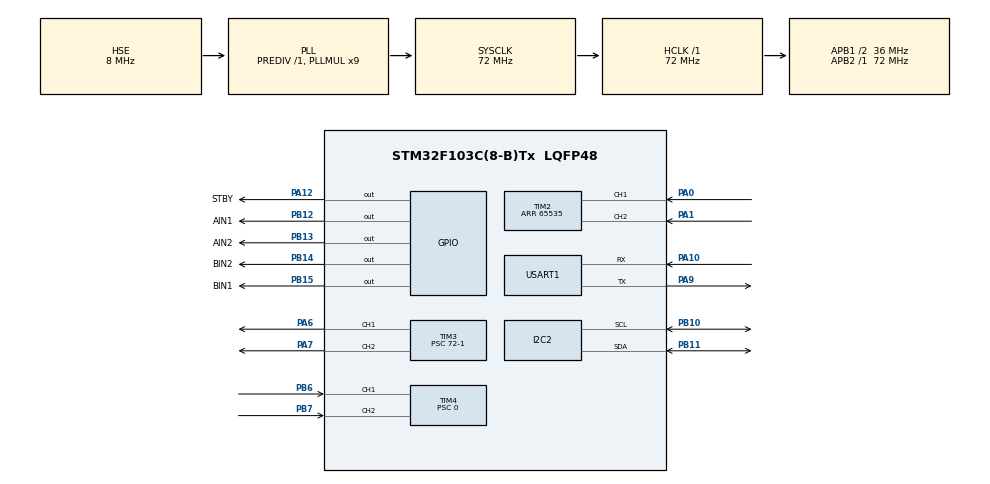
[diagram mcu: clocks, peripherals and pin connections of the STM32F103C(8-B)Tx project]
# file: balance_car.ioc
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I2C2.I2C_Mode=I2C_Fast
Mcu.Family=STM32F1
Mcu.Name=STM32F103C(8-B)Tx
Mcu.Package=LQFP48
NVIC.PriorityGroup=NVIC_PRIORITYGROUP_4
NVIC.TIM2_IRQn=true\:0\:0\:false\:false\:true\:true\:true\:true
NVIC.TIM3_IRQn=true\:1\:0\:true\:false\:true\:true\:true\:true
NVIC.TIM4_IRQn=true\:0\:0\:true\:false\:true\:true\:true\:true
PA0-WKUP.GPIO_PuPd=GPIO_PULLUP
PA0-WKUP.Signal=S_TIM2_CH1_ETR
PA1.GPIO_PuPd=GPIO_PULLUP
PA1.Signal=S_TIM2_CH2
PA10.Mode=Asynchronous
PA10.Signal=USART1_RX
PA12.GPIO_Label=STBY
PA12.Signal=GPIO_Output
PA13.Mode=Serial_Wire
PA13.Signal=SYS_JTMS-SWDIO
PA14.Mode=Serial_Wire
PA14.Signal=SYS_JTCK-SWCLK
PA6.Signal=S_TIM3_CH1
PA7.Signal=S_TIM3_CH2
PA9.Mode=Asynchronous
PA9.Signal=USART1_TX
PB10.Mode=I2C
PB10.Signal=I2C2_SCL
PB11.Mode=I2C
PB11.Signal=I2C2_SDA
PB12.GPIO_Label=AIN1
PB12.Signal=GPIO_Output
PB13.GPIO_Label=AIN2
PB13.Signal=GPIO_Output
PB14.GPIO_Label=BIN2
PB14.Signal=GPIO_Output
PB15.GPIO_Label=BIN1
PB15.Signal=GPIO_Output
PB6.GPIO_PuPd=GPIO_PULLUP
PB6.Signal=S_TIM4_CH1
PB7.GPIO_PuPd=GPIO_PULLUP
PB7.Signal=S_TIM4_CH2
PC14-OSC32_IN.Mode=LSE-External-Oscillator
PC14-OSC32_IN.Signal=RCC_OSC32_IN
PC15-OSC32_OUT.Mode=LSE-External-Oscillator
PC15-OSC32_OUT.Signal=RCC_OSC32_OUT
PD0-OSC_IN.Mode=HSE-External-Oscillator
PD0-OSC_IN.Signal=RCC_OSC_IN
PD1-OSC_OUT.Mode=HSE-External-Oscillator
PD1-OSC_OUT.Signal=RCC_OSC_OUT
ProjectManager.HeapSize=0x200
ProjectManager.StackSize=0x400
ProjectManager.TargetToolchain=MDK-ARM V5.32
RCC.AHBFreq_Value=72000000
RCC.APB1CLKDivider=RCC_HCLK_DIV2
RCC.APB1Freq_Value=36000000
RCC.APB1TimFreq_Value=72000000
RCC.APB2Freq_Value=72000000
RCC.APB2TimFreq_Value=72000000
RCC.HCLKFreq_Value=72000000
RCC.PLLMUL=RCC_PLL_MUL9
RCC.PLLSourceVirtual=RCC_PLLSOURCE_HSE
RCC.SYSCLKFreq_VALUE=72000000
RCC.SYSCLKSource=RCC_SYSCLKSOURCE_PLLCLK
RCC.USBFreq_Value=72000000
SH.S_TIM2_CH1_ETR.0=TIM2_CH1,Encoder_Interface
SH.S_TIM2_CH2.0=TIM2_CH2,Encoder_Interface
SH.S_TIM3_CH1.0=TIM3_CH1,PWM Generation1 CH1
SH.S_TIM3_CH2.0=TIM3_CH2,PWM Generation2 CH2
SH.S_TIM4_CH1.0=TIM4_CH1,Encoder_Interface
SH.S_TIM4_CH2.0=TIM4_CH2,Encoder_Interface
TIM1.Period=1000-1
TIM1.Prescaler=720-1
TIM2.EncoderMode=TIM_ENCODERMODE_TI1
TIM2.IC1Filter=15
TIM2.IC2Filter=15
TIM2.Period=65535
TIM3.Channel-PWM\ Generation1\ CH1=TIM_CHANNEL_1
TIM3.Channel-PWM\ Generation2\ CH2=TIM_CHANNEL_2
TIM3.Period=10000-1
TIM3.Prescaler=72-1
TIM3.Pulse-PWM\ Generation1\ CH1=0
TIM4.EncoderMode=TIM_ENCODERMODE_TI1
TIM4.IC1Filter=15
TIM4.IC2Filter=15
TIM4.Period=65535
TIM4.Prescaler=0
USART1.VirtualMode=VM_ASYNC
VP_TIM1_VS_ClockSourceINT.Mode=Internal
VP_TIM3_VS_ClockSourceINT.Mode=Internal
board=custom

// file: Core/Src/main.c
/* USER CODE BEGIN Header */
/**
  ******************************************************************************
  * @file           : main.c
  * @brief          : Main program body
  ******************************************************************************
  * @attention
  *
  * Copyright (c) 2024 STMicroelectronics.
  * All rights reserved.
  *
  * This software is licensed under terms that can be found in the LICENSE file
  * in the root directory of this software component.
  * If no LICENSE file comes with this software, it is provided AS-IS.
  *
  ******************************************************************************
  */
/* USER CODE END Header */
#include "main.h"
#include "i2c.h"
#include "tim.h"
#include "usart.h"
#include "gpio.h"

/* USER CODE BEGIN Includes */

#include <stdio.h>
#include <string.h>
#include "MPU6050.h"
#include "motor.h"

/* USER CODE END Includes */

/* USER CODE BEGIN PV */

extern int result;		//陀螺仪初始化结果
extern float pitch;	//三个角度
extern float yaw;
extern float roll;
extern short gyro;		//角加速度，用于直立环        疑问：short转float会咋样

//调试用
extern float motor1_speed;
extern float motor2_speed;

extern float motor1_out;
extern float motor2_out;

/* USER CODE END PV */

void SystemClock_Config(void);

int main(void)
{

  /* MCU Configuration--------------------------------------------------------*/

  /* Reset of all peripherals, Initializes the Flash interface and the Systick. */
  HAL_Init();

  /* Configure the system clock */
  SystemClock_Config();

  /* Initialize all configured peripherals */
  MX_GPIO_Init();
  MX_I2C2_Init();
  MX_TIM2_Init();
  MX_TIM3_Init();
  MX_TIM4_Init();
  MX_USART1_UART_Init();
  MX_TIM1_Init();
  /* USER CODE BEGIN 2 */

	//陀螺仪初始化
	result = MPU6050_DMP_Init();
	if(result!=0)
	{
		while(result)
		{
			HAL_Delay(100);
			result = MPU6050_DMP_Init();
			printf("mpu init error:%d",result);
		}
	}

	//电机编码器，pwm，定时器等等初始化
	Motor_Init();

  /* USER CODE END 2 */

  /* Infinite loop */
  /* USER CODE BEGIN WHILE */
  while (1)
  {
//	if(MPU6050_DMP_Get_Data(&pitch,&roll,&yaw,&gyro))	//pitch : x ; yaw : y ; roll : z
//	{
//		printf("%f,%f,%f\n",pitch,roll,yaw);
//	}
//	printf("%hd\n" , gyro);

	printf("%f,%f\n" , motor1_speed , motor2_speed);

    /* USER CODE END WHILE */

  }
}

void SystemClock_Config(void)
{
  RCC_OscInitTypeDef RCC_OscInitStruct = {0};
  RCC_ClkInitTypeDef RCC_ClkInitStruct = {0};

  /** Initializes the RCC Oscillators according to the specified parameters
  * in the RCC_OscInitTypeDef structure.
  */
  RCC_OscInitStruct.OscillatorType = RCC_OSCILLATORTYPE_HSE;
  RCC_OscInitStruct.HSEState = RCC_HSE_ON;
  RCC_OscInitStruct.HSEPredivValue = RCC_HSE_PREDIV_DIV1;
  RCC_OscInitStruct.HSIState = RCC_HSI_ON;
  RCC_OscInitStruct.PLL.PLLState = RCC_PLL_ON;
  RCC_OscInitStruct.PLL.PLLSource = RCC_PLLSOURCE_HSE;
  RCC_OscInitStruct.PLL.PLLMUL = RCC_PLL_MUL9;
  if (HAL_RCC_OscConfig(&RCC_OscInitStruct) != HAL_OK)
  {
    Error_Handler();
  }

  /** Initializes the CPU, AHB and APB buses clocks
  */
  RCC_ClkInitStruct.ClockType = RCC_CLOCKTYPE_HCLK|RCC_CLOCKTYPE_SYSCLK
                              |RCC_CLOCKTYPE_PCLK1|RCC_CLOCKTYPE_PCLK2;
  RCC_ClkInitStruct.SYSCLKSource = RCC_SYSCLKSOURCE_PLLCLK;
  RCC_ClkInitStruct.AHBCLKDivider = RCC_SYSCLK_DIV1;
  RCC_ClkInitStruct.APB1CLKDivider = RCC_HCLK_DIV2;
  RCC_ClkInitStruct.APB2CLKDivider = RCC_HCLK_DIV1;

  if (HAL_RCC_ClockConfig(&RCC_ClkInitStruct, FLASH_LATENCY_2) != HAL_OK)
  {
    Error_Handler();
  }
}

/* USER CODE BEGIN 4 */

/************************************************************************************************/
int fputc(int ch,FILE *f)
{
  HAL_UART_Transmit(&huart1,(uint8_t *)&ch,1,1000);  //使用UART1，重定向
  return ch;
}

int fgetc(FILE * F)
{
  uint8_t ch_r;
  HAL_UART_Receive (&huart1,&ch_r,1,0xffff);		//接收
  return ch_r;
}

/*************************************************************************************************/

/* USER CODE END 4 */

void Error_Handler(void)
{
  __disable_irq();
  while (1)
  {
  }
}
